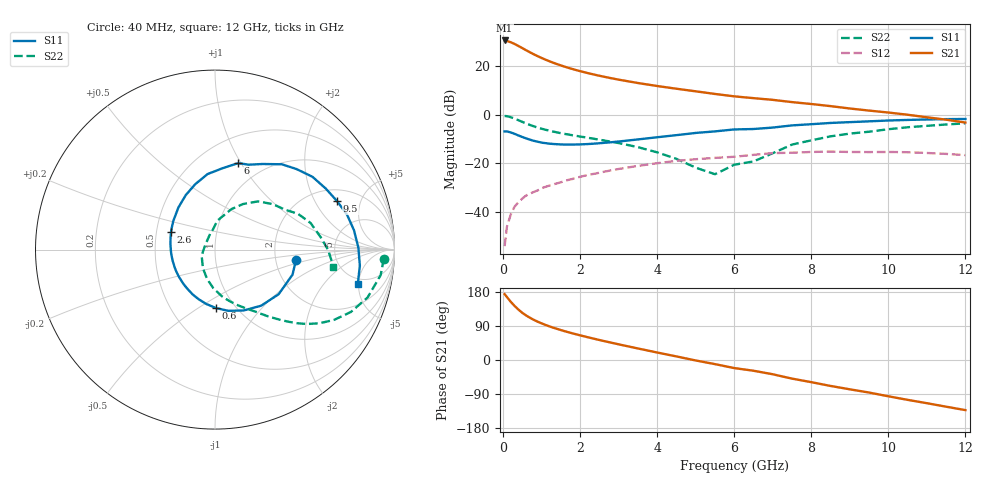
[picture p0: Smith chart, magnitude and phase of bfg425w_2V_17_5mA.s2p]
! Filename: 217bfg425.001
! BFG425W Field C1
! V1=8.592E-001V,V2=2.000E+000V, I1=2.449E-004A, I2=1.748E-002A
# GHz  S  MA  R 50
!  S11  S21  S12  S22
!Freq(GHz)  Mag  Ang  Mag  Ang  Mag  Ang  Mag  Ang
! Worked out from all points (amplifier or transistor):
!   44 points, 40 MHz to 12 GHz, reference 50 ohm
!   highest |S21| = 30.5 dB at 40 MHz (marker M1)
!   |S21| within 3 dB of that: start of sweep to 483.1 MHz
!   unconditionally stable (mu >= 1): 1.391 GHz to end of sweep
!   at 700 MHz: K = 0.71, MSG = 29.0 dB, |S12| = -32.4 dB
!   at 2.4 GHz: K = 1.15, MAG = 17.9 dB, |S12| = -24.2 dB
!   at 12 GHz: K = 1.35, MAG = 3.1 dB, |S12| = -16.6 dB
!   S11 on the Smith chart (normalised r, x): 40 MHz: 2.61, -0.37; 600 MHz: 0.82, -0.60; 2.6 GHz: 0.60, +0.12; 6 GHz: 0.76, +0.97; 9.5 GHz: 2.66, +3.09; 12 GHz: 4.26, -4.88
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0.04  0.455 -7.2  33.52 173.9  0.002 78.1  0.942 -3.1
0.1  0.454 -17.9  32.66 166.1  0.005 83.6  0.934 -8.7
0.2  0.433 -35.0  30.8 153.5  0.009 75.9  0.891 -17.4
0.3  0.405 -50.5  28.38 142.6  0.013 71.5  0.833 -24.7
0.4  0.375 -64.7  25.8 133.0  0.016 67.0  0.771 -30.5
0.5  0.349 -77.8  23.33 124.4  0.019 64.0  0.713 -35.1
0.6  0.326 -88.9  21.07 117.4  0.022 62.1  0.661 -38.8
0.7  0.307 -99.0  19.1 111.3  0.024 60.3  0.616 -41.8
0.9  0.279 -116.6  15.92 101.0  0.028 58.2  0.544 -46.4
1  0.268 -124.3  14.64 96.6  0.031 57.4  0.516 -48.4
1.2  0.255 -137.8  12.56 88.8  0.035 56.1  0.471 -51.8
1.6  0.244 -160.5  9.701 76.0  0.044 53.3  0.404 -57.9
2.2  0.25 173.1  7.161 60.1  0.058 47.8  0.337 -67.4
2.6  0.264 158.4  6.072 50.4  0.067 43.5  0.298 -74.2
3.5  0.311 131.0  4.483 30.4  0.089 31.9  0.216 -92.3
4.5  0.381 106.7  3.421 9.4  0.113 17.2  0.124 -122.8
6  0.499 75.0  2.386 -21.3  0.137 -7.3  0.094 106.1
6.5  0.509 68.3  2.19 -28.4  0.15 -10.8  0.11 96.8
8.5  0.678 36.7  1.503 -68.4  0.175 -47.5  0.36 48.3
9.5  0.732 21.6  1.217 -85.9  0.171 -64.0  0.448 29.9
10.5  0.782 7.9  1 -105.1  0.17 -82.4  0.553 15.5
12  0.818 -13.4  0.69 -132.2  0.148 -111.9  0.667 -8.2
